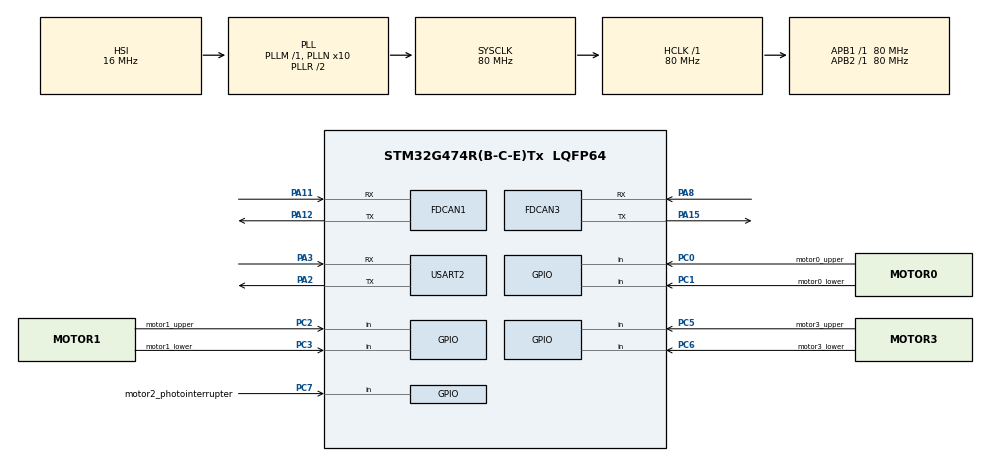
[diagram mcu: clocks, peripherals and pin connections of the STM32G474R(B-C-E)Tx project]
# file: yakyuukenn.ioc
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FDCAN1.CalculateBaudRateNominal=1000000
FDCAN1.CalculateTimeBitNominal=1000
FDCAN1.CalculateTimeQuantumNominal=50.0
FDCAN1.DataPrescaler=2
FDCAN1.DataSyncJumpWidth=1
FDCAN1.DataTimeSeg1=15
FDCAN1.DataTimeSeg2=4
FDCAN1.ExtFiltersNbr=0
FDCAN1.FrameFormat=FDCAN_FRAME_FD_BRS
FDCAN1.NominalPrescaler=4
FDCAN1.NominalTimeSeg1=15
FDCAN1.NominalTimeSeg2=4
FDCAN1.StdFiltersNbr=1
FDCAN3.CalculateBaudRateNominal=1000000
FDCAN3.CalculateTimeBitNominal=1000
FDCAN3.CalculateTimeQuantumNominal=50.0
FDCAN3.DataPrescaler=2
FDCAN3.DataTimeSeg1=15
FDCAN3.DataTimeSeg2=4
FDCAN3.NominalPrescaler=4
FDCAN3.NominalTimeSeg1=15
FDCAN3.NominalTimeSeg2=4
FDCAN3.StdFiltersNbr=1
Mcu.Family=STM32G4
Mcu.Name=STM32G474R(B-C-E)Tx
Mcu.Package=LQFP64
NVIC.FDCAN1_IT0_IRQn=true\:0\:0\:false\:false\:true\:true\:true\:true
NVIC.FDCAN1_IT1_IRQn=true\:0\:0\:false\:false\:true\:true\:true\:true
NVIC.FDCAN3_IT0_IRQn=true\:0\:0\:false\:false\:true\:true\:true\:true
NVIC.FDCAN3_IT1_IRQn=true\:0\:0\:false\:false\:true\:true\:true\:true
NVIC.PriorityGroup=NVIC_PRIORITYGROUP_4
NVIC.TIM6_DAC_IRQn=true\:0\:0\:false\:false\:true\:true\:true\:true
PA11.Mode=FDCAN_Activate
PA11.Signal=FDCAN1_RX
PA12.Mode=FDCAN_Activate
PA12.Signal=FDCAN1_TX
PA15.Mode=FDCAN_Activate
PA15.Signal=FDCAN3_TX
PA2.Mode=Asynchronous
PA2.Signal=USART2_TX
PA3.Mode=Asynchronous
PA3.Signal=USART2_RX
PA8.Mode=FDCAN_Activate
PA8.Signal=FDCAN3_RX
PC0.GPIO_Label=motor0_upper
PC0.GPIO_PuPd=GPIO_PULLUP
PC0.Signal=GPIO_Input
PC1.GPIO_Label=motor0_lower
PC1.GPIO_PuPd=GPIO_PULLUP
PC1.Signal=GPIO_Input
PC2.GPIO_Label=motor1_upper
PC2.GPIO_PuPd=GPIO_PULLUP
PC2.Signal=GPIO_Input
PC3.GPIO_Label=motor1_lower
PC3.GPIO_PuPd=GPIO_PULLUP
PC3.Signal=GPIO_Input
PC5.GPIO_Label=motor3_upper
PC5.GPIO_PuPd=GPIO_PULLUP
PC5.Signal=GPIO_Input
PC6.GPIO_Label=motor3_lower
PC6.GPIO_PuPd=GPIO_PULLUP
PC6.Signal=GPIO_Input
PC7.GPIO_Label=motor2_photointerrupter
PC7.GPIO_PuPd=GPIO_PULLUP
PC7.Signal=GPIO_Input
ProjectManager.HeapSize=0x200
ProjectManager.StackSize=0x400
ProjectManager.TargetToolchain=CMake
RCC.ADC12Freq_Value=80000000
RCC.ADC345Freq_Value=80000000
RCC.AHBFreq_Value=80000000
RCC.APB1Freq_Value=80000000
RCC.APB1TimFreq_Value=80000000
RCC.APB2Freq_Value=80000000
RCC.APB2TimFreq_Value=80000000
RCC.CortexFreq_Value=80000000
RCC.EXTERNAL_CLOCK_VALUE=12288000
RCC.HCLKFreq_Value=80000000
RCC.HSE_VALUE=8000000
RCC.HSI48_VALUE=48000000
RCC.HSI_VALUE=16000000
RCC.LSE_VALUE=32768
RCC.PLLN=10
RCC.SYSCLKFreq_VALUE=80000000
RCC.SYSCLKSource=RCC_SYSCLKSOURCE_PLLCLK
RCC.USBFreq_Value=80000000
RCC.VCOOutputFreq_Value=160000000
TIM6.PeriodNoDither=999
TIM6.Prescaler=79
USART2.VirtualMode-Asynchronous=VM_ASYNC
VP_SYS_VS_DBSignals.Mode=DisableDeadBatterySignals
VP_TIM6_VS_ClockSourceINT.Mode=Enable_Timer
board=custom

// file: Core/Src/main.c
/* USER CODE BEGIN Header */
/**
  ******************************************************************************
  * @file           : main.c
  * @brief          : Main program body
  ******************************************************************************
  * @attention
  *
  * Copyright (c) 2026 STMicroelectronics.
  * All rights reserved.
  *
  * This software is licensed under terms that can be found in the LICENSE file
  * in the root directory of this software component.
  * If no LICENSE file comes with this software, it is provided AS-IS.
  *
  ******************************************************************************
  */
/* USER CODE END Header */
#include "main.h"

/* USER CODE BEGIN Includes */
#include <stdio.h>

/* USER CODE END Includes */

/* USER CODE BEGIN PTD */
typedef struct {
    /* 速度PID用：モーター0、1 */
    volatile float gosagoukei;
    volatile float maenogosa;
    float Kp, Ki, Kd;
    volatile int16_t v;
    uint16_t can_id;
    volatile int16_t mokuhyou;

    /* 位置制御用：主にモーター2 */
    volatile uint16_t encoder_raw;
    volatile uint16_t previous_encoder_raw;
    volatile int32_t position_count;
    volatile int32_t target_position_count;

    volatile float position_integral;
    volatile float previous_position_error;

    float position_Kp;
    float position_Ki;
    float position_Kd;

    volatile uint8_t encoder_initialized;
    volatile uint8_t homed;
} Motor;

/* USER CODE END PTD */

/* USER CODE BEGIN PD */
#define M2006_ENCODER_CPR          8192L

/* 72 × 36 = 2592度 = 7.2回転 */
#define MOTOR2_MOVE_DEGREE         (72.0f * 36.2f)

#define MOTOR2_MOVE_COUNT \
    ((int32_t)(M2006_ENCODER_CPR * MOTOR2_MOVE_DEGREE / 360.0f))

/* 8192 × 7.2 = 58982.4カウント */
#define MOTOR2_MAX_CURRENT         1000

/* モーター3の動作状態 */
#define MOTOR3_STATE_OPENING  0U
#define MOTOR3_STATE_OPENED   1U
#define MOTOR3_STATE_CLOSING  2U
#define MOTOR3_STATE_HOLDING  3U
#define MOTOR3_STATE_STOPPED  4U

/* 開くときの目標速度 */
#define MOTOR3_OPEN_TARGET_RPM       (-3000)

/* 閉じるときの目標速度 */
#define MOTOR3_CLOSE_TARGET_RPM       3000

/* 開くときの速度Pゲイン */
#define MOTOR3_OPEN_SPEED_KP          30.0f

/* 閉じるときの速度Pゲイン */
#define MOTOR3_CLOSE_SPEED_KP         30.0f

/* 開方向の最大電流 */
#define MOTOR3_OPEN_MAX_CURRENT       3000

/* 閉方向の最大電流 */
#define MOTOR3_CLOSE_MAX_CURRENT      3000

/* 接触後に流す保持電流 */
#define MOTOR3_HOLD_CURRENT           200

/* これ以下の速度を停止付近とみなす */
#define MOTOR3_CONTACT_RPM_THRESHOLD  30

/* これ以上の電流を負荷上昇とみなす */
#define MOTOR3_CONTACT_CURRENT        500

/* 閉じ始め直後は接触判定しない */
#define MOTOR3_CONTACT_IGNORE_MS      200U

/* 接触条件が連続して必要な時間 */
#define MOTOR3_CONTACT_CONFIRM_MS     100U

/* 閉じ動作の最大時間 */
#define MOTOR3_CLOSE_TIMEOUT_MS       2000U

/* USER CODE END PD */

FDCAN_HandleTypeDef hfdcan1;
FDCAN_HandleTypeDef hfdcan3;

TIM_HandleTypeDef htim6;

UART_HandleTypeDef huart2;

/* USER CODE BEGIN PV */

Motor motors[4];
int16_t g_shusoku[4] = {0,0,0,0};
FDCAN_TxHeaderTypeDef TxHeader;
FDCAN_RxHeaderTypeDef RxHeader;
FDCAN_TxHeaderTypeDef TxHeader_com;
FDCAN_RxHeaderTypeDef RxHeader_com;

/*
 * 操作側マイコンから受信したボタン状態
 *
 * RxData[2]：モーター0 上昇
 * RxData[3]：モーター0 下降
 * RxData[4]：モーター1 上昇
 * RxData[5]：モーター1 下降
 */

volatile uint8_t motor0_up = 0;
volatile uint8_t motor0_down = 0;
volatile uint8_t motor1_up = 0;
volatile uint8_t motor1_down = 0;

/*
 * モーター2, RxData[1]から受信する
 */
volatile uint8_t motor2_command = 0;
volatile uint8_t motor2_command_previous = 0;
/*
 * モーター2の72度移動要求。
 *
 * ボタンを押した時点でエンコーダ初期化前でも、
 * 指令を捨てずに保存する。
 */
volatile uint8_t motor2_move_request = 0;

/*
 * モーター3開閉ボタン、0x205のRxData[0]から受信
 */
volatile uint8_t motor3_command = 0;

/*
 * ボタンの前回状態。0から1へ変わった瞬間を検出するために使用
 */
volatile uint8_t motor3_command_previous = 0;

/*
 * モーター3の現在状態。起動直後は開側リミットまで開く。
 */
volatile uint8_t motor3_state =
    MOTOR3_STATE_OPENING;

/* モーター3の電流フィードバック */
volatile int16_t motor3_feedback_current = 0;

/* 接触条件が継続した時間 */
volatile uint16_t motor3_contact_count = 0;

/* 閉じ始めてからの経過時間 */
volatile uint16_t motor3_close_time = 0;

/* デバッグ用の電流指令 */
volatile int16_t debug_motor3_current_cmd = 0;

/* USER CODE END PV */

void SystemClock_Config(void);
static void MX_GPIO_Init(void);
static void MX_TIM6_Init(void);
static void MX_FDCAN3_Init(void);
static void MX_FDCAN1_Init(void);
static void MX_USART2_UART_Init(void);

/* USER CODE BEGIN 0 */
int _write(int file, char *ptr, int len)
{
  HAL_UART_Transmit(&huart2, (uint8_t *)ptr, len, HAL_MAX_DELAY);
  return len;
}

HAL_StatusTypeDef CAN_SEND(uint32_t CANID, uint8_t *txdata, FDCAN_HandleTypeDef *hfdcan, FDCAN_TxHeaderTypeDef *htxheader)
{
  htxheader->Identifier = CANID;
  if (HAL_OK != HAL_FDCAN_AddMessageToTxFifoQ(hfdcan, htxheader, txdata))
  {
    printf("addmessage error\r\n");
    return HAL_ERROR;
  }
  return HAL_OK;
}

void motor_CAN_filter_init(FDCAN_FilterTypeDef *Hfdcan_Filter_Settings)
{
  Hfdcan_Filter_Settings->IdType = FDCAN_STANDARD_ID;
  Hfdcan_Filter_Settings->FilterIndex = 0;
  Hfdcan_Filter_Settings->FilterType = FDCAN_FILTER_RANGE;
  Hfdcan_Filter_Settings->FilterConfig = FDCAN_FILTER_TO_RXFIFO0;
  Hfdcan_Filter_Settings->FilterID1 = 0x200;
  Hfdcan_Filter_Settings->FilterID2 = 0x410;
}

void motor_CAN_txheader_init(FDCAN_TxHeaderTypeDef *Htxheader)
{
  Htxheader->Identifier = 0x200;
  Htxheader->IdType = FDCAN_STANDARD_ID;
  Htxheader->TxFrameType = FDCAN_DATA_FRAME;
  Htxheader->DataLength = FDCAN_DLC_BYTES_8;
  Htxheader->ErrorStateIndicator = FDCAN_ESI_ACTIVE;
  Htxheader->FDFormat = FDCAN_CLASSIC_CAN;
  Htxheader->BitRateSwitch = FDCAN_BRS_OFF;
  Htxheader->TxEventFifoControl = FDCAN_NO_TX_EVENTS;
  Htxheader->MessageMarker = 0;
}

HAL_StatusTypeDef motor_CAN_RxTxSettings_init(FDCAN_TxHeaderTypeDef *Htxheader)
{
  FDCAN_FilterTypeDef FDCAN_Filter_settings;
  motor_CAN_filter_init(&FDCAN_Filter_settings);
  motor_CAN_txheader_init(Htxheader);
  if (HAL_OK != HAL_FDCAN_ConfigFilter(&hfdcan3, &FDCAN_Filter_settings))
  {
    printf("fdcan_configfilter is error\r\n");
    return HAL_ERROR;
  }
  if (HAL_OK != HAL_FDCAN_ConfigGlobalFilter(&hfdcan3, FDCAN_REJECT, FDCAN_FILTER_REJECT, FDCAN_FILTER_REMOTE, FDCAN_FILTER_REMOTE))
  {
    printf("fdcan_configglobalfilter is error\r\n");
    return HAL_ERROR;
  }
  if (HAL_OK != HAL_FDCAN_Start(&hfdcan3))
  {
    printf("fdcan_start is error\r\n");
    return HAL_ERROR;
  }
  if (HAL_OK != HAL_FDCAN_ActivateNotification(&hfdcan3, FDCAN_IT_RX_FIFO0_NEW_MESSAGE, 0))
  {
    printf("fdcan_activatenotification is error\r\n");
    return HAL_ERROR;
  }

  return HAL_OK;
}

HAL_StatusTypeDef communication_CAN_init(void)
{
    FDCAN_FilterTypeDef filter = {0};

    /*
     * 標準ID 0x205だけを受信し、
     * Rx FIFO1に格納する
     */
    filter.IdType = FDCAN_STANDARD_ID;
    filter.FilterIndex = 0;
    filter.FilterType = FDCAN_FILTER_MASK;
    filter.FilterConfig = FDCAN_FILTER_TO_RXFIFO1;
    filter.FilterID1 = 0x205;
    filter.FilterID2 = 0x7FF;

    if (HAL_FDCAN_ConfigFilter(&hfdcan1, &filter) != HAL_OK)
    {
        return HAL_ERROR;
    }

    /*
     * 0x205以外の標準IDおよび拡張IDを拒否する
     */
    if (HAL_FDCAN_ConfigGlobalFilter(
            &hfdcan1,
            FDCAN_REJECT,
            FDCAN_REJECT,
            FDCAN_FILTER_REMOTE,
            FDCAN_FILTER_REMOTE) != HAL_OK)
    {
        return HAL_ERROR;
    }

    /*
     * FIFO1にメッセージが入ったとき
     * 受信割り込みを発生させる
     */
    if (HAL_FDCAN_ActivateNotification(
            &hfdcan1,
            FDCAN_IT_RX_FIFO1_NEW_MESSAGE,
            0U) != HAL_OK)
    {
        return HAL_ERROR;
    }

    /*
     * FDCAN1の通信を開始する
     */
    if (HAL_FDCAN_Start(&hfdcan1) != HAL_OK)
    {
        return HAL_ERROR;
    }

    return HAL_OK;
}

// void HAL_FDCAN_RxFifo0Callback(FDCAN_HandleTypeDef *hfdcan, uint32_t RxFifo0ITs){
// 	if ((RxFifo0ITs & FDCAN_IT_RX_FIFO0_NEW_MESSAGE) != RESET) {

//     /* Retrieve Rx messages from RX FIFO0 */
// 		uint8_t RxData_motor[8] = {};
//     FDCAN_RxHeaderTypeDef RxHeader_motor;
// 		if (HAL_OK != HAL_FDCAN_GetRxMessage(&hfdcan3, FDCAN_RX_FIFO0, &RxHeader_motor, RxData_motor)) {
// 			printf("fdcan_getrxmessage_motor is error\r\n");
// 			Error_Handler();
// 		}
// 		/*receive robomas's status*/
// 		for (int i=0; i < 8; i++){
// 			if (RxHeader_motor.Identifier == (robomas[i].CANID)) {
// 				robomas[i].actangle = (int16_t)((RxData_motor[0] << 8) | RxData_motor[1]);
// 				robomas[i].actVel = (int16_t)((RxData_motor[2] << 8) | RxData_motor[3]);
// 				robomas[i].actCurrent = (int16_t)((RxData_motor[4] << 8) | RxData_motor[5]);
// 			}
// 		}
// 	}
// }

void HAL_TIM_PeriodElapsedCallback(TIM_HandleTypeDef *htim)
{
if(htim == &htim6)
{

/* =========================================================
 * モーター2の72度回転指令
 * ========================================================= */

//ボタンが0から1へ変わった瞬間を検出する
/* =========================================================
 * モーター2
 * □ボタンを1回押すごとに機構を72度回転させる
 * ========================================================= */

/*
 * □ボタンが0から1へ変化した瞬間を検出する。
 */
if ((motor2_command != 0U) &&
    (motor2_command_previous == 0U))
{
    /*
     * 72度移動要求を保存する。
     */
    motor2_move_request = 1U;
}

/*
 * 次回のボタン立ち上がり判定に使う。
 */
motor2_command_previous =
    motor2_command;

/*
 * エンコーダ初期化後に移動要求を実行する。
 */
if ((motor2_move_request != 0U) &&
    (motors[2].encoder_initialized != 0U))
{
    /*
     * ボタンを押した時点の現在位置から、
     * 機構72度分先を目標位置にする。
     */
    motors[2].target_position_count =
        motors[2].position_count +
        MOTOR2_MOVE_COUNT;

    /*
     * 新しい動作を開始するため、
     * 位置PIDの内部値をリセットする。
     */
    motors[2].position_integral = 0.0f;
    motors[2].previous_position_error = 0.0f;

    /*
     * 保存していた移動要求を消費する。
     */
    motor2_move_request = 0U;
}

// モーター0、1の目標速度決定
// GPIO_PULLUPを使用しているため、
// リミットスイッチ押下時はGPIO_PIN_RESETとして判定する

/* ---------- モーター0のリミット状態 ---------- */

uint8_t motor0_upper_limit =
    (HAL_GPIO_ReadPin(
        GPIOC,
        motor0_upper_Pin) == GPIO_PIN_SET);

uint8_t motor0_lower_limit =
    (HAL_GPIO_ReadPin(
        GPIOC,
        motor0_lower_Pin) == GPIO_PIN_SET);

/* ---------- モーター1のリミット状態 ---------- */

uint8_t motor1_upper_limit =
    (HAL_GPIO_ReadPin(
        GPIOC,
        motor1_upper_Pin) == GPIO_PIN_SET);

uint8_t motor1_lower_limit =
    (HAL_GPIO_ReadPin(
        GPIOC,
        motor1_lower_Pin) == GPIO_PIN_RESET);

/* =========================================================
 * モーター0の目標速度決定
 * ========================================================= */

/*
 * 上昇と下降が同時に押されたときは停止する
 */
if (motor0_up && motor0_down)
{
    motors[0].mokuhyou = 0;
    motors[0].gosagoukei = 0.0f;
}
/*
 * 下ボタンが押され、下限に達していなければ下降
 */
else if (motor0_down && !motor0_lower_limit)
{
    motors[0].mokuhyou = 3000;
}
/*
 * 上ボタンが押され、上限に達していなければ上昇
 */
else if (motor0_up && !motor0_upper_limit)
{
    motors[0].mokuhyou = -3000;
}
/*
 * ボタンを押していない場合、
 * またはリミットに達している場合は停止
 */
else
{
    motors[0].mokuhyou = 0;
    motors[0].gosagoukei = 0.0f;
}

/* ===================================================
 * モーター1の目標速度決定
 * =================================================== */

/*
 * 上昇と下降が同時に押されたときは停止する
 */
if (motor1_up && motor1_down)
{
    motors[1].mokuhyou = 0;
    motors[1].gosagoukei = 0.0f;
}
/*
 * 下ボタンが押され、下限に達していなければ下降
 */
else if (motor1_down && !motor1_lower_limit)
{
    motors[1].mokuhyou = 3000;
}
/*
 * 上ボタンが押され、上限に達していなければ上昇
 */
else if (motor1_up && !motor1_upper_limit)
{
    motors[1].mokuhyou = -3000;
}
/*
 * ボタンを押していない場合、
 * またはリミットに達している場合は停止
 */
else
{
    motors[1].mokuhyou = 0;
    motors[1].gosagoukei = 0.0f;
}

/* ------------ PID計算 ------------ */

TxHeader.Identifier = 0x200;
uint8_t TxData[8] = {0};

for(int h = 0; h < 2; h++)
{
float current = (float)motors[h].v;

float error =
(float)motors[h].mokuhyou - current;

motors[h].gosagoukei += error;

if(motors[h].gosagoukei > 100)
motors[h].gosagoukei = 100;

if(motors[h].gosagoukei < -100)
motors[h].gosagoukei = -100;

float derivative =
(error - motors[h].maenogosa) / 0.001f;

float output =
motors[h].Kp * error
+ motors[h].Ki * motors[h].gosagoukei
+ motors[h].Kd * derivative;

motors[h].maenogosa = error;

if(output > 32767)
output = 32767;

if(output < -32767)
output = -32767;

int16_t current_cmd = (int16_t)output;

TxData[2*h] = (uint8_t)(current_cmd >> 8);
TxData[2*h + 1] = (uint8_t)(current_cmd & 0xFF);
}

//モーター2の位置PID
int16_t motor2_current_cmd = 0;

//エンコーダを1回以上受信している場合だけ制御
if (motors[2].encoder_initialized != 0U)
{
  //位置誤差
    float motor2_position_error =
        (float)(
            motors[2].target_position_count -
            motors[2].position_count);

  //積分
    motors[2].position_integral +=
        motor2_position_error * 0.001f;

  //積分値の上限下限

    if (motors[2].position_integral > 10000.0f)
    {
        motors[2].position_integral = 10000.0f;
    }

    if (motors[2].position_integral < -10000.0f)
    {
        motors[2].position_integral = -10000.0f;
    }

  //微分値
    float motor2_position_derivative =
        (motor2_position_error -
         motors[2].previous_position_error) /
        0.001f;

  //位置PID出力
    float motor2_output =
        motors[2].position_Kp *
            motor2_position_error +
        motors[2].position_Ki *
            motors[2].position_integral +
        motors[2].position_Kd *
            motor2_position_derivative;

    motors[2].previous_position_error =
        motor2_position_error;

  //電流を±MOTOR2_MAX_CURRENTに制限
    if (motor2_output >
        (float)MOTOR2_MAX_CURRENT)
    {
        motor2_output =
            (float)MOTOR2_MAX_CURRENT;
    }

    if (motor2_output <
        -(float)MOTOR2_MAX_CURRENT)
    {
        motor2_output =
            -(float)MOTOR2_MAX_CURRENT;
    }

  //目標位置から±25以内なら停止、積分値もリセット

    if ((motor2_position_error < 25.0f) &&
        (motor2_position_error > -25.0f))
    {
      motor2_output = 0.0f;
      motors[2].position_integral = 0.0f;
    }

    motor2_current_cmd =
        (int16_t)motor2_output;
}

/*
 * モーター2、CAN ID 0x203の電流指令
 */
uint16_t motor2_current_data =
    (uint16_t)motor2_current_cmd;

TxData[4] =
    (uint8_t)(motor2_current_data >> 8);

TxData[5] =
    (uint8_t)(motor2_current_data & 0xFF);

/* =========================================================
 * モーター3の電流制御。upperを開側、lowerを閉側リミットとしている。
 * =========================================================*/
uint8_t motor3_upper_limit =
    (HAL_GPIO_ReadPin(
        GPIOC,
        motor3_upper_Pin) == GPIO_PIN_SET);

uint8_t motor3_lower_limit =
    (HAL_GPIO_ReadPin(
        GPIOC,
        motor3_lower_Pin) == GPIO_PIN_RESET);

/* ---------------------------------------------------------
 * ○ボタンの立ち上がりを検出。0から1になった瞬間だけ処理
 * --------------------------------------------------------- */
if ((motor3_command != 0U) &&
    (motor3_command_previous == 0U))
{
    /*
     * 開いて停止中なら、閉じ始める。
     */
    if (motor3_state == MOTOR3_STATE_OPENED)
    {
        motor3_state =
            MOTOR3_STATE_CLOSING;

        motor3_contact_count = 0U;
        motor3_close_time = 0U;
    }
    /*
     * 閉じている途中、保持中、停止中なら開く。
     */
    else if ((motor3_state == MOTOR3_STATE_CLOSING) ||
             (motor3_state == MOTOR3_STATE_HOLDING) ||
             (motor3_state == MOTOR3_STATE_STOPPED))
    {
        motor3_state =
            MOTOR3_STATE_OPENING;

        motor3_contact_count = 0U;
        motor3_close_time = 0U;
    }
}

/*
 * 次回のタイマー割り込みで使うため、今回のボタン状態を保存。
 */
motor3_command_previous = motor3_command;

/* ---------------------------------------------------------
 * 現在の状態から、モーター3の電流指令を決める
 * --------------------------------------------------------- */
int16_t motor3_current_cmd = 0;

/* 回転速度の絶対値 */
int32_t motor3_abs_rpm =
    (int32_t)motors[3].v;

if (motor3_abs_rpm < 0)
{
    motor3_abs_rpm =
        -motor3_abs_rpm;
}

/* フィードバック電流の絶対値 */
int32_t motor3_abs_current =
    (int32_t)motor3_feedback_current;

if (motor3_abs_current < 0)
{
    motor3_abs_current =
        -motor3_abs_current;
}

/* =========================================================
 * 開く
 * ========================================================= */
if (motor3_state == MOTOR3_STATE_OPENING)
{
    motor3_contact_count = 0U;
    motor3_close_time = 0U;

    if (motor3_upper_limit != 0U)
    {
        motor3_current_cmd = 0;

        motor3_state =
            MOTOR3_STATE_OPENED;
    }
    else
    {
        float motor3_speed_error =
            (float)MOTOR3_OPEN_TARGET_RPM -
            (float)motors[3].v;

        float motor3_output =
            MOTOR3_OPEN_SPEED_KP *
            motor3_speed_error;

        if (motor3_output >
            (float)MOTOR3_OPEN_MAX_CURRENT)
        {
            motor3_output =
                (float)MOTOR3_OPEN_MAX_CURRENT;
        }

        if (motor3_output <
            -(float)MOTOR3_OPEN_MAX_CURRENT)
        {
            motor3_output =
                -(float)MOTOR3_OPEN_MAX_CURRENT;
        }

        motor3_current_cmd =
            (int16_t)motor3_output;
    }
}

/* =========================================================
 * 開いて停止
 * ========================================================= */
else if (motor3_state == MOTOR3_STATE_OPENED)
{
    motor3_current_cmd = 0;

    motor3_contact_count = 0U;
    motor3_close_time = 0U;
}

/* =========================================================
 * 閉じる
 * ========================================================= */
else if (motor3_state == MOTOR3_STATE_CLOSING)
{
    if (motor3_close_time < UINT16_MAX)
    {
        motor3_close_time++;
    }

    /*
     * 閉側リミットへ到達した場合は停止する。
     */
    if (motor3_lower_limit != 0U)
    {
        motor3_current_cmd = 0;

        motor3_state =
            MOTOR3_STATE_STOPPED;

        motor3_contact_count = 0U;
    }
    /*
     * タイムアウトした場合も停止する。
     */
    else if (motor3_close_time >=
             MOTOR3_CLOSE_TIMEOUT_MS)
    {
        motor3_current_cmd = 0;

        motor3_state =
            MOTOR3_STATE_STOPPED;

        motor3_contact_count = 0U;
    }
    else
    {
        /*
         * 閉じる方向の速度P制御。
         */
        float motor3_speed_error =
            (float)MOTOR3_CLOSE_TARGET_RPM -
            (float)motors[3].v;

        float motor3_output =
            MOTOR3_CLOSE_SPEED_KP *
            motor3_speed_error;

        if (motor3_output >
            (float)MOTOR3_CLOSE_MAX_CURRENT)
        {
            motor3_output =
                (float)MOTOR3_CLOSE_MAX_CURRENT;
        }

        if (motor3_output <
            -(float)MOTOR3_CLOSE_MAX_CURRENT)
        {
            motor3_output =
                -(float)MOTOR3_CLOSE_MAX_CURRENT;
        }

        motor3_current_cmd =
            (int16_t)motor3_output;

        /*
         * 閉じ始め直後は、モーター速度がまだ0なので、
         * 接触判定を行わない。
         */
        if (motor3_close_time <
            MOTOR3_CONTACT_IGNORE_MS)
        {
            motor3_contact_count = 0U;
        }
        /*
         * 十分時間が経過した後で、
         * 低速かつ高電流なら接触候補とする。
         */
        else if ((motor3_abs_rpm <=
                  MOTOR3_CONTACT_RPM_THRESHOLD) &&
                 (motor3_abs_current >=
                  MOTOR3_CONTACT_CURRENT))
        {
            if (motor3_contact_count <
                MOTOR3_CONTACT_CONFIRM_MS)
            {
                motor3_contact_count++;
            }
        }
        else
        {
            motor3_contact_count = 0U;
        }

        /*
         * 接触条件が一定時間続いた場合のみ、
         * 弱い一定電流保持へ移行する。
         */
        if (motor3_contact_count >=
            MOTOR3_CONTACT_CONFIRM_MS)
        {
            motor3_state =
                MOTOR3_STATE_HOLDING;

            motor3_current_cmd =
                MOTOR3_HOLD_CURRENT;
        }
    }
}

/* =========================================================
 * ブロックを一定電流で保持する
 * ========================================================= */
else if (motor3_state == MOTOR3_STATE_HOLDING)
{
    /*
     * 閉側リミットに入った場合は停止する。
     */
    if (motor3_lower_limit != 0U)
    {
        motor3_current_cmd = 0;

        motor3_state =
            MOTOR3_STATE_STOPPED;
    }
    else
    {
        motor3_current_cmd =
            MOTOR3_HOLD_CURRENT;
    }
}

/* =========================================================
 * 安全停止
 * ========================================================= */
else
{
    motor3_current_cmd = 0;
}

/* ---------------------------------------------------------
 * モーター3の電流指令をCANデータへ入れる
 * CAN ID 0x200のByte 6、7は、
 * CAN ID 0x204のモーターに対応する。
 * --------------------------------------------------------- */
uint16_t motor3_current_data =
    (uint16_t)motor3_current_cmd;

TxData[6] =
    (uint8_t)(motor3_current_data >> 8);

TxData[7] =
    (uint8_t)(motor3_current_data & 0xFF);

HAL_FDCAN_AddMessageToTxFifoQ(
&hfdcan3,
&TxHeader,
TxData
);
}
}
    // リミットスイッチ処理↑

//FDCAN3：ロボマスモーターのフィードバック受信
void HAL_FDCAN_RxFifo0Callback(
  FDCAN_HandleTypeDef *hfdcan,
  uint32_t RxFifo0ITs)
{
  //FDCAN3以外なら処理しない
    if (hfdcan != &hfdcan3)
    {
        return;
    }

  //FIFO0に新しいメッセージがない場合は処理しない
    if ((RxFifo0ITs &
         FDCAN_IT_RX_FIFO0_NEW_MESSAGE) == 0U)
    {
         return;
    }

    uint8_t RxData[8] = {0};

    /*
     * FIFO0からデータを取得する
     */
    if (HAL_FDCAN_GetRxMessage(
        &hfdcan3,
        FDCAN_RX_FIFO0,
        &RxHeader,
        RxData) != HAL_OK)
    {
        printf("fdcan_getrxmessage is error\r\n");
        Error_Handler();
    }

    /*
     * モーター0、1、2、3を確認する
     */
    for (int i = 0; i < 4; i++)
    {
        if (RxHeader.Identifier == motors[i].can_id)
        {
        //Byte 0、1：エンコーダ角度 範囲は0～8191
          uint16_t new_encoder =
            (uint16_t)(
               ((uint16_t)RxData[0] << 8) |
              RxData[1]);

        //Byte2,3：現在速度
        motors[i].v =
            (int16_t)(
                ((uint16_t)RxData[2] << 8) |
                RxData[3]);
        if (i == 3)
        {
          motor3_feedback_current =
            (int16_t)(
                ((uint16_t)RxData[4] << 8) |
                RxData[5]);
        }
        //モーター2だけ累積位置を計算する
        if (i == 2)
        {
            //初めてエンコーダ値を受信した場合
            if (motors[2].encoder_initialized == 0U)
            {
                motors[2].encoder_raw = new_encoder;
                motors[2].previous_encoder_raw = new_encoder;
                /*
                * 起動時の位置を仮の0として扱う
                */
                motors[2].position_count = 0;

                motors[2].encoder_initialized = 1U;
                }
                else
                {
                /*
                 * 前回値から何カウント動いたか
                 */
                int32_t encoder_difference =
                    (int32_t)new_encoder - (int32_t)motors[2].previous_encoder_raw;

                    /*
                     * 8191から0をまたいで
                     * 正方向へ回転した場合
                     */
                    if (encoder_difference < -4096)
                    {
                    encoder_difference += M2006_ENCODER_CPR;
                    }
                    /*
                     * 0から8191をまたいで
                     * 負方向へ回転した場合
                     */
                    else if (encoder_difference > 4096)
                    {
                    encoder_difference -= M2006_ENCODER_CPR;
                    }

                    /*
                     * 累積位置へ加算する
                     */
                    motors[2].position_count +=
                    encoder_difference;

                    motors[2].encoder_raw =
                    new_encoder;

                    motors[2].previous_encoder_raw =
                    new_encoder;
                }
            }
        }
    }
}

// マイコン間通信
// FDCAN1：操作側マイコンからの指令受信
void HAL_FDCAN_RxFifo1Callback(
    FDCAN_HandleTypeDef *hfdcan,
    uint32_t RxFifo1ITs)
{
    /*
     * FDCAN1以外のコールバックだった場合は処理しない
     */
    if (hfdcan != &hfdcan1)
    {
        return;
    }

    //FIFO1に新しいメッセージが入った場合だけ処理する
    if ((RxFifo1ITs &
         FDCAN_IT_RX_FIFO1_NEW_MESSAGE) == 0U)
    {
        return;
    }

    uint8_t RxData[8] = {0};

    //FIFO1から受信データを取り出す
    if (HAL_FDCAN_GetRxMessage(
            &hfdcan1,
            FDCAN_RX_FIFO1,
            &RxHeader_com,
            RxData) != HAL_OK)
    {
        printf("fdcan_getrxmessage is error\r\n");
        Error_Handler();
    }

    //操作マイコンからのIDが0x205の場合だけボタン状態を保存
    if (RxHeader_com.Identifier == 0x205)
    {
        motor0_up = RxData[2]; //R1
        motor0_down = RxData[3]; //R2

        motor1_up = RxData[4]; //L1
        motor1_down = RxData[5]; //L2

        motor2_command = RxData[1]; //□
        motor3_command = RxData[0]; //〇
    }

}
/* USER CODE END 0 */
int main(void)
{

  /* USER CODE BEGIN 1 */

  setbuf(stdout, NULL);
  /* USER CODE END 1 */

  /* MCU Configuration--------------------------------------------------------*/

  /* Reset of all peripherals, Initializes the Flash interface and the Systick. */
  HAL_Init();

  /* Configure the system clock */
  SystemClock_Config();

  /* Initialize all configured peripherals */
  MX_GPIO_Init();
  MX_TIM6_Init();
  MX_FDCAN3_Init();
  MX_FDCAN1_Init();
  MX_USART2_UART_Init();
  /* USER CODE BEGIN 2 */

 int16_t _v=0;
  //モーター0
  motors[0].Kp = 10;
  motors[0].Ki = 0;
  motors[0].Kd = 0;
  motors[0].gosagoukei = 0;
  motors[0].maenogosa = 0;
  motors[0].v = 0;
  motors[0].can_id = 0x201;
  motors[0].mokuhyou = _v;

  //モーター1
  motors[1].Kp = 10;
  motors[1].Ki = 0.0;
  motors[1].Kd = 0.0;
  motors[1].gosagoukei = 0;
  motors[1].maenogosa = 0;
  motors[1].v = 0;
  motors[1].can_id = 0x202;
  motors[1].mokuhyou= _v;

  //モーター2
  motors[2].Kp = 0.0f;
  motors[2].Ki = 0.0f;
  motors[2].Kd = 0.0f;
  motors[2].gosagoukei = 0.0f;
  motors[2].maenogosa = 0.0f;
  motors[2].v = 0;
  motors[2].can_id = 0x203;
  motors[2].mokuhyou = 0;

  /* エンコーダ情報 */
  motors[2].encoder_raw = 0;
  motors[2].previous_encoder_raw = 0;
  motors[2].encoder_initialized = 0;

/* 現在位置と目標位置 */
motors[2].position_count = 0;
motors[2].target_position_count = 0;

/* 位置PID */
motors[2].position_integral = 0.0f;
motors[2].previous_position_error = 0.0f;

motors[2].position_Kp = 0.03f;
motors[2].position_Ki = 0.00f;
motors[2].position_Kd = 0.0038f;

/* フォトインタラプタ検出済みフラグ */
motors[2].homed = 0;

motor2_move_request = 0;
/* モーター3の初期化 */

motors[3].Kp = 0.0f;
motors[3].Ki = 0.0f;
motors[3].Kd = 0.0f;
motors[3].gosagoukei = 0.0f;
motors[3].maenogosa = 0.0f;
motors[3].v = 0;
motors[3].can_id = 0x204;

/*
 * モーター3は速度PIDの目標値を使わず、
 * 電流指令を直接送る。
 */
motors[3].mokuhyou = 0;

/* 起動後は開側リミットまで開く */
motor3_state = MOTOR3_STATE_OPENING;

motor3_command = 0;
motor3_command_previous = 0;

  TxHeader.IdType=FDCAN_STANDARD_ID;
  TxHeader.TxFrameType=FDCAN_DATA_FRAME;
  TxHeader.DataLength=FDCAN_DLC_BYTES_8;
  TxHeader.ErrorStateIndicator=FDCAN_ESI_ACTIVE;
  TxHeader.BitRateSwitch=FDCAN_BRS_OFF;
  TxHeader.FDFormat = FDCAN_CLASSIC_CAN;
  TxHeader.TxEventFifoControl=FDCAN_NO_TX_EVENTS;
  TxHeader.MessageMarker=0;

//先にFDCAN3
if (HAL_OK != motor_CAN_RxTxSettings_init(&TxHeader))
{
    Error_Handler();
}

//次にFDCAN1
if (HAL_OK != communication_CAN_init())
{
    Error_Handler();
}

//CANの準備が完了してから1msタイマー割り込みを開始する
if (HAL_TIM_Base_Start_IT(&htim6) != HAL_OK)
{
    Error_Handler();
}

  /* USER CODE END 2 */

  /* Infinite loop */
  /* USER CODE BEGIN WHILE */
  while (1)
  {
    printf(
        "M3 state=%u cmd=%u "
        "rpm=%d fbCurrent=%d "
        "out=%d contact=%u time=%u\r\n",
        (unsigned int)motor3_state,
        (unsigned int)motor3_command,
        (int)motors[3].v,
        (int)motor3_feedback_current,
        (int)debug_motor3_current_cmd,
        (unsigned int)motor3_contact_count,
        (unsigned int)motor3_close_time);

    HAL_Delay(100);

    /* USER CODE END WHILE */

  }
}

void SystemClock_Config(void)
{
  RCC_OscInitTypeDef RCC_OscInitStruct = {0};
  RCC_ClkInitTypeDef RCC_ClkInitStruct = {0};

  /** Configure the main internal regulator output voltage
  */
  HAL_PWREx_ControlVoltageScaling(PWR_REGULATOR_VOLTAGE_SCALE1);

  /** Initializes the RCC Oscillators according to the specified parameters
  * in the RCC_OscInitTypeDef structure.
  */
  RCC_OscInitStruct.OscillatorType = RCC_OSCILLATORTYPE_HSI;
  RCC_OscInitStruct.HSIState = RCC_HSI_ON;
  RCC_OscInitStruct.HSICalibrationValue = RCC_HSICALIBRATION_DEFAULT;
  RCC_OscInitStruct.PLL.PLLState = RCC_PLL_ON;
  RCC_OscInitStruct.PLL.PLLSource = RCC_PLLSOURCE_HSI;
  RCC_OscInitStruct.PLL.PLLM = RCC_PLLM_DIV1;
  RCC_OscInitStruct.PLL.PLLN = 10;
  RCC_OscInitStruct.PLL.PLLP = RCC_PLLP_DIV2;
  RCC_OscInitStruct.PLL.PLLQ = RCC_PLLQ_DIV2;
  RCC_OscInitStruct.PLL.PLLR = RCC_PLLR_DIV2;
  if (HAL_RCC_OscConfig(&RCC_OscInitStruct) != HAL_OK)
  {
    Error_Handler();
  }

  /** Initializes the CPU, AHB and APB buses clocks
  */
  RCC_ClkInitStruct.ClockType = RCC_CLOCKTYPE_HCLK|RCC_CLOCKTYPE_SYSCLK
                              |RCC_CLOCKTYPE_PCLK1|RCC_CLOCKTYPE_PCLK2;
  RCC_ClkInitStruct.SYSCLKSource = RCC_SYSCLKSOURCE_PLLCLK;
  RCC_ClkInitStruct.AHBCLKDivider = RCC_SYSCLK_DIV1;
  RCC_ClkInitStruct.APB1CLKDivider = RCC_HCLK_DIV1;
  RCC_ClkInitStruct.APB2CLKDivider = RCC_HCLK_DIV1;

  if (HAL_RCC_ClockConfig(&RCC_ClkInitStruct, FLASH_LATENCY_2) != HAL_OK)
  {
    Error_Handler();
  }
}

static void MX_FDCAN1_Init(void)
{

  hfdcan1.Instance = FDCAN1;
  hfdcan1.Init.ClockDivider = FDCAN_CLOCK_DIV1;
  hfdcan1.Init.FrameFormat = FDCAN_FRAME_FD_BRS;
  hfdcan1.Init.Mode = FDCAN_MODE_NORMAL;
  hfdcan1.Init.AutoRetransmission = DISABLE;
  hfdcan1.Init.TransmitPause = DISABLE;
  hfdcan1.Init.ProtocolException = DISABLE;
  hfdcan1.Init.NominalPrescaler = 4;
  hfdcan1.Init.NominalSyncJumpWidth = 1;
  hfdcan1.Init.NominalTimeSeg1 = 15;
  hfdcan1.Init.NominalTimeSeg2 = 4;
  hfdcan1.Init.DataPrescaler = 2;
  hfdcan1.Init.DataSyncJumpWidth = 1;
  hfdcan1.Init.DataTimeSeg1 = 15;
  hfdcan1.Init.DataTimeSeg2 = 4;
  hfdcan1.Init.StdFiltersNbr = 1;
  hfdcan1.Init.ExtFiltersNbr = 0;
  hfdcan1.Init.TxFifoQueueMode = FDCAN_TX_FIFO_OPERATION;
  if (HAL_FDCAN_Init(&hfdcan1) != HAL_OK)
  {
    Error_Handler();
  }

}

static void MX_FDCAN3_Init(void)
{

  hfdcan3.Instance = FDCAN3;
  hfdcan3.Init.ClockDivider = FDCAN_CLOCK_DIV1;
  hfdcan3.Init.FrameFormat = FDCAN_FRAME_CLASSIC;
  hfdcan3.Init.Mode = FDCAN_MODE_NORMAL;
  hfdcan3.Init.AutoRetransmission = DISABLE;
  hfdcan3.Init.TransmitPause = DISABLE;
  hfdcan3.Init.ProtocolException = DISABLE;
  hfdcan3.Init.NominalPrescaler = 4;
  hfdcan3.Init.NominalSyncJumpWidth = 1;
  hfdcan3.Init.NominalTimeSeg1 = 15;
  hfdcan3.Init.NominalTimeSeg2 = 4;
  hfdcan3.Init.DataPrescaler = 2;
  hfdcan3.Init.DataSyncJumpWidth = 1;
  hfdcan3.Init.DataTimeSeg1 = 15;
  hfdcan3.Init.DataTimeSeg2 = 4;
  hfdcan3.Init.StdFiltersNbr = 1;
  hfdcan3.Init.ExtFiltersNbr = 0;
  hfdcan3.Init.TxFifoQueueMode = FDCAN_TX_FIFO_OPERATION;
  if (HAL_FDCAN_Init(&hfdcan3) != HAL_OK)
  {
    Error_Handler();
  }

}

static void MX_TIM6_Init(void)
{

  TIM_MasterConfigTypeDef sMasterConfig = {0};

  htim6.Instance = TIM6;
  htim6.Init.Prescaler = 79;
  htim6.Init.CounterMode = TIM_COUNTERMODE_UP;
  htim6.Init.Period = 999;
  htim6.Init.AutoReloadPreload = TIM_AUTORELOAD_PRELOAD_DISABLE;
  if (HAL_TIM_Base_Init(&htim6) != HAL_OK)
  {
    Error_Handler();
  }
  sMasterConfig.MasterOutputTrigger = TIM_TRGO_RESET;
  sMasterConfig.MasterSlaveMode = TIM_MASTERSLAVEMODE_DISABLE;
  if (HAL_TIMEx_MasterConfigSynchronization(&htim6, &sMasterConfig) != HAL_OK)
  {
    Error_Handler();
  }

}

static void MX_USART2_UART_Init(void)
{

  huart2.Instance = USART2;
  huart2.Init.BaudRate = 115200;
  huart2.Init.WordLength = UART_WORDLENGTH_8B;
  huart2.Init.StopBits = UART_STOPBITS_1;
  huart2.Init.Parity = UART_PARITY_NONE;
  huart2.Init.Mode = UART_MODE_TX_RX;
  huart2.Init.HwFlowCtl = UART_HWCONTROL_NONE;
  huart2.Init.OverSampling = UART_OVERSAMPLING_16;
  huart2.Init.OneBitSampling = UART_ONE_BIT_SAMPLE_DISABLE;
  huart2.Init.ClockPrescaler = UART_PRESCALER_DIV1;
  huart2.AdvancedInit.AdvFeatureInit = UART_ADVFEATURE_NO_INIT;
  if (HAL_UART_Init(&huart2) != HAL_OK)
  {
    Error_Handler();
  }
  if (HAL_UARTEx_SetTxFifoThreshold(&huart2, UART_TXFIFO_THRESHOLD_1_8) != HAL_OK)
  {
    Error_Handler();
  }
  if (HAL_UARTEx_SetRxFifoThreshold(&huart2, UART_RXFIFO_THRESHOLD_1_8) != HAL_OK)
  {
    Error_Handler();
  }
  if (HAL_UARTEx_DisableFifoMode(&huart2) != HAL_OK)
  {
    Error_Handler();
  }

}

static void MX_GPIO_Init(void)
{
  GPIO_InitTypeDef GPIO_InitStruct = {0};

  /* GPIO Ports Clock Enable */
  __HAL_RCC_GPIOC_CLK_ENABLE();
  __HAL_RCC_GPIOA_CLK_ENABLE();

  /*Configure GPIO pins : motor0_upper_Pin motor0_lower_Pin motor1_upper_Pin motor1_lower_Pin
                           motor3_upper_Pin motor3_lower_Pin motor2_photointerrupter_Pin */
  GPIO_InitStruct.Pin = motor0_upper_Pin|motor0_lower_Pin|motor1_upper_Pin|motor1_lower_Pin
                          |motor3_upper_Pin|motor3_lower_Pin|motor2_photointerrupter_Pin;
  GPIO_InitStruct.Mode = GPIO_MODE_INPUT;
  GPIO_InitStruct.Pull = GPIO_PULLUP;
  HAL_GPIO_Init(GPIOC, &GPIO_InitStruct);

}

void Error_Handler(void)
{
  __disable_irq();
  while (1)
  {
  }
}
